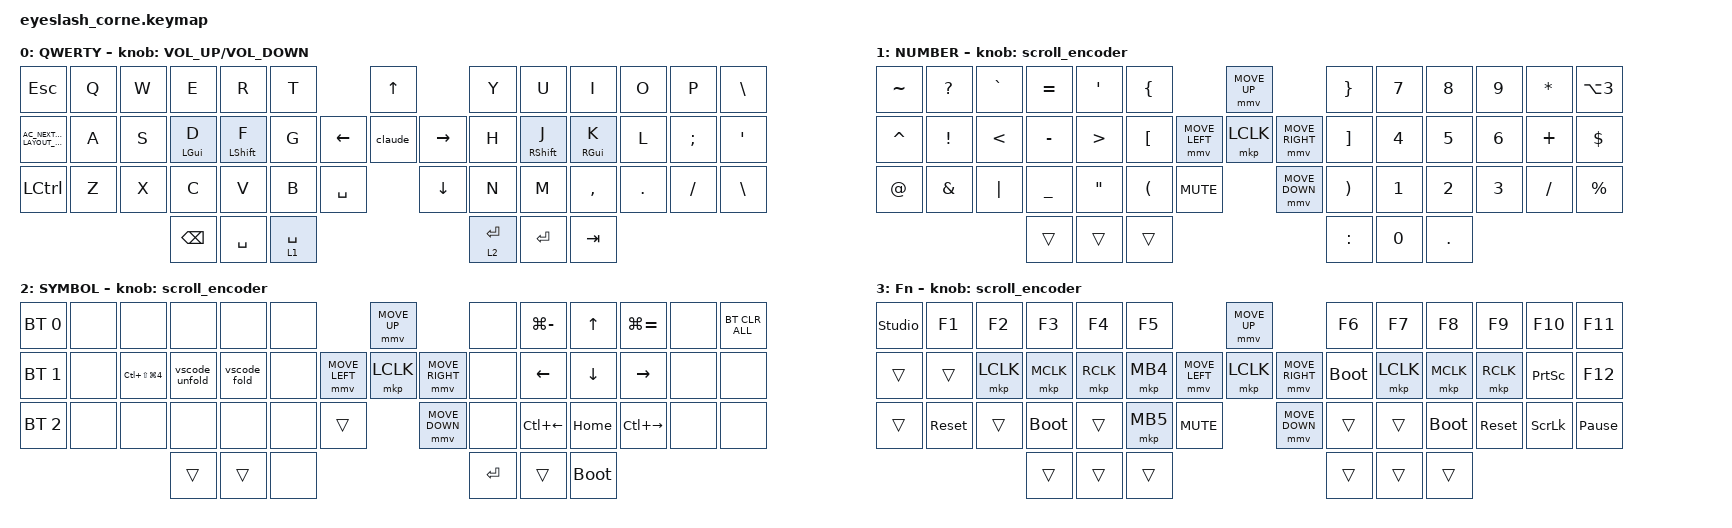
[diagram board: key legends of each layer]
#define ZMK_POINTING_DEFAULT_MOVE_VAL 1200  // 600
#define ZMK_POINTING_DEFAULT_SCRL_VAL 25   // 10

#include <input/processors.dtsi>
#include <zephyr/dt-bindings/input/input-event-codes.h>
#include <behaviors.dtsi>
#include <dt-bindings/zmk/bt.h>
#include <dt-bindings/zmk/keys.h>
#include <dt-bindings/zmk/pointing.h>
#include <dt-bindings/zmk/rgb.h>

&mmv_input_listener { input-processors = <&zip_xy_scaler 2 1>; };

&msc_input_listener { input-processors = <&zip_scroll_scaler 2 1>; };

&msc {
    acceleration-exponent = <1>;      // 0
    time-to-max-speed-ms = <100>;       // 300
    delay-ms = <0>;                   // 0
};

&mmv {
    time-to-max-speed-ms = <500>;
    acceleration-exponent = <1>;
    trigger-period-ms = <16>;
};

&mt {
    tapping-term-ms = <280>;
    require-prior-idle-ms = <150>;
    flavor = "balanced";
    quick-tap-ms = <175>;
};

/ {
    behaviors {
        td0: td0 {
            compatible = "zmk,behavior-tap-dance";
            display-name = "Shift/Caps Lock Tap Dance";
            #binding-cells = <0>;
            bindings = <&kp LEFT_SHIFT>, <&kp CAPS>;
        };
    };

    rgb_encoder: rgb_encoder {
        compatible = "zmk,behavior-sensor-rotate";
        #sensor-binding-cells = <0>;
        bindings = <&rgb_ug RGB_BRI>, <&rgb_ug RGB_BRD>;
    };

    scroll_encoder: scroll_encoder {
        compatible = "zmk,behavior-sensor-rotate";
        #sensor-binding-cells = <0>;
        bindings = <&msc SCRL_DOWN>, <&msc SCRL_UP>;

        tap-ms = <100>;
    };

    macros {
        vscode_fold: vscode_fold {
            compatible = "zmk,behavior-macro";
            #binding-cells = <0>;
            bindings = <&kp LG(K) &kp LG(NUMBER_0)>;
            label = "VSCODE_UNFOLD";
        };

        vscode_unfold: vscode_unfold {
            compatible = "zmk,behavior-macro";
            #binding-cells = <0>;
            bindings = <&kp LG(K) &kp LG(J)>;
            label = "VSCODE_UNFOLD";
        };

        claude: claude {
            compatible = "zmk,behavior-macro";
            #binding-cells = <0>;
            bindings = <&kp LEFT_ALT &kp LEFT_ALT>;
            label = "CLAUDE";
        };
    };

    keymap {
        compatible = "zmk,keymap";

        default_layer {
            display-name = "QWERTY";
            bindings = <
&kp ESC                               &kp Q  &kp W  &kp E          &kp R        &kp T                               &kp UP               &kp Y        &kp U        &kp I       &kp O    &kp P     &kp BACKSLASH
&kp C_AC_NEXT_KEYBOARD_LAYOUT_SELECT  &kp A  &kp S  &mt LGUI D     &mt LSHFT F  &kp G                     &kp LEFT  &claude   &kp RIGHT  &kp H        &mt RSHFT J  &mt RGUI K  &kp L    &kp SEMI  &kp SQT
&kp LCTRL                             &kp Z  &kp X  &kp C          &kp V        &kp B        &kp SPACE              &kp DOWN             &kp N        &kp M        &kp COMMA   &kp DOT  &kp FSLH  &kp BACKSLASH
                                                    &kp BACKSPACE  &kp SPACE    &lt 1 SPACE                                              &lt 2 ENTER  &kp ENTER    &kp TAB
            >;

            sensor-bindings = <&inc_dec_kp C_VOLUME_UP C_VOLUME_DOWN>;
        };

        lower_layer {
            display-name = "NUMBER";
            bindings = <
&kp TILDE  &kp QUESTION     &kp GRAVE      &kp EQUAL       &kp SINGLE_QUOTE   &kp LEFT_BRACE                                      &mmv MOVE_UP                     &kp RIGHT_BRACE        &kp N7        &kp N8        &kp N9        &kp STAR   &kp LA(NUMBER_3)
&kp CARET  &kp EXCLAMATION  &kp LESS_THAN  &kp MINUS       &kp GREATER_THAN   &kp LEFT_BRACKET                    &mmv MOVE_LEFT  &mkp LCLK       &mmv MOVE_RIGHT  &kp RIGHT_BRACKET      &kp NUMBER_4  &kp NUMBER_5  &kp NUMBER_6  &kp PLUS   &kp DOLLAR
&kp AT     &kp AMPERSAND    &kp PIPE       &kp UNDERSCORE  &kp DOUBLE_QUOTES  &kp LEFT_PARENTHESIS  &kp C_MUTE                    &mmv MOVE_DOWN                   &kp RIGHT_PARENTHESIS  &kp NUMBER_1  &kp NUMBER_2  &kp NUMBER_3  &kp SLASH  &kp PERCENT
                                           &trans          &trans             &trans                                                                               &kp COLON              &kp NUMBER_0  &kp PERIOD
            >;

            sensor-bindings = <&scroll_encoder>;
        };

        raise_layer {
            display-name = "SYMBOL";
            bindings = <
&bt BT_SEL 0  &none  &none                     &none           &none         &none                            &mmv MOVE_UP                     &none    &kp LG(MINUS)       &kp UP_ARROW  &kp LG(EQUAL)  &none  &bt BT_CLR_ALL
&bt BT_SEL 1  &none  &kp LC(LS(LG(NUMBER_4)))  &vscode_unfold  &vscode_fold  &none            &mmv MOVE_LEFT  &mkp LCLK       &mmv MOVE_RIGHT  &none    &kp LEFT            &kp DOWN      &kp RIGHT      &none  &none
&bt BT_SEL 2  &none  &none                     &none           &none         &none  &trans                    &mmv MOVE_DOWN                   &none    &kp LC(LEFT_ARROW)  &kp HOME      &kp LC(RIGHT)  &none  &none
                                               &trans          &trans        &none                                                             &kp RET  &trans              &bootloader
            >;

            sensor-bindings = <&scroll_encoder>;
        };

        layer_3 {
            display-name = "Fn";
            bindings = <
&studio_unlock  &kp F1      &kp F2     &kp F3       &kp F4     &kp F5                                  &mmv MOVE_UP                     &kp F6       &kp F7     &kp F8       &kp F9      &kp F10          &kp F11
&trans          &trans      &mkp LCLK  &mkp MCLK    &mkp RCLK  &mkp MB4                &mmv MOVE_LEFT  &mkp LCLK       &mmv MOVE_RIGHT  &bootloader  &mkp LCLK  &mkp MCLK    &mkp RCLK   &kp PRINTSCREEN  &kp F12
&trans          &sys_reset  &trans     &bootloader  &trans     &mkp MB5  &kp C_MUTE                    &mmv MOVE_DOWN                   &trans       &trans     &bootloader  &sys_reset  &kp SCROLLLOCK   &kp PAUSE_BREAK
                                       &trans       &trans     &trans                                                                   &trans       &trans     &trans
            >;

            sensor-bindings = <&scroll_encoder>;
        };
    };
};
